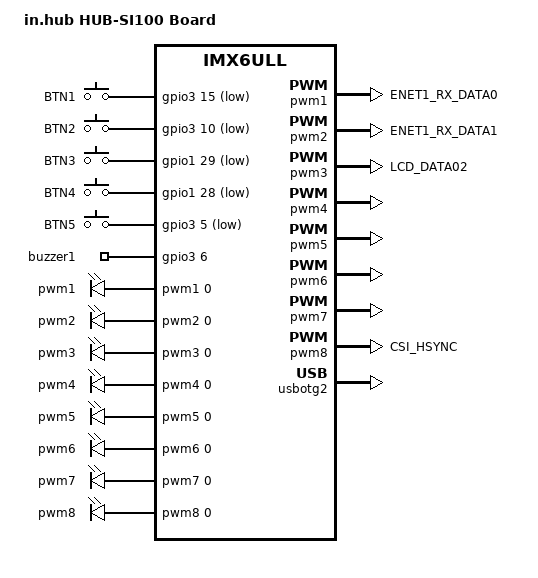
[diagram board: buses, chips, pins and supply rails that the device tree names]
// SPDX-License-Identifier: GPL-2.0-only
/*
 * Copyright 2024 in.hub GmbH
 */

/dts-v1/;

#include "imx6ull-inhub-xx100.dtsi"

/ {
	model = "in.hub HUB-SI100 Board";
	compatible = "inhub,hub-si100", "fsl,imx6ull";

	gpio-keys {
		compatible = "gpio-keys";
		pinctrl-names = "default";
		pinctrl-0 = <&pinctrl_gpio_keys>;

		button-1 {
			label = "BTN1";
			linux,code = <KEY_1>;
			gpios = <&gpio3 15 GPIO_ACTIVE_LOW>;
		};

		button-2 {
			label = "BTN2";
			linux,code = <KEY_2>;
			gpios = <&gpio3 10 GPIO_ACTIVE_LOW>;
		};

		button-3 {
			label = "BTN3";
			linux,code = <KEY_3>;
			gpios = <&gpio1 29 GPIO_ACTIVE_LOW>;
		};

		button-4 {
			label = "BTN4";
			linux,code = <KEY_4>;
			gpios = <&gpio1 28 GPIO_ACTIVE_LOW>;
		};

		button-5 {
			label = "BTN5";
			linux,code = <KEY_5>;
			gpios = <&gpio3 5 GPIO_ACTIVE_LOW>;
		};
	};

	leds {
		compatible = "gpio-leds";
		pinctrl-names = "default";
		pinctrl-0 = <&pinctrl_gpio_buzzers>;

		buzzer1 {
			label = "buzzer1";
			gpios = <&gpio3 6 0x0>;
			default-state = "off";
		};
	};

	pwmleds {
		compatible = "pwm-leds";

		pwm1 {
			label = "pwm1";
			pwms = <&pwm1 0 50000 0>;
			max-brightness = <255>;
		};

		pwm2 {
			label = "pwm2";
			pwms = <&pwm2 0 50000 0>;
			max-brightness = <255>;
		};

		pwm3 {
			label = "pwm3";
			pwms = <&pwm3 0 50000 0>;
			max-brightness = <255>;
		};

		pwm4 {
			label = "pwm4";
			pwms = <&pwm4 0 50000 0>;
			max-brightness = <255>;
		};

		pwm5 {
			label = "pwm5";
			pwms = <&pwm5 0 50000 0>;
			max-brightness = <255>;
		};

		pwm6 {
			label = "pwm6";
			pwms = <&pwm6 0 50000 0>;
			max-brightness = <255>;
		};

		pwm7 {
			label = "pwm7";
			pwms = <&pwm7 0 50000 0>;
			max-brightness = <255>;
		};

		pwm8 {
			label = "pwm8";
			pwms = <&pwm8 0 50000 0>;
			max-brightness = <255>;
		};
	};
};

&iomuxc {
	pinctrl-0 = <&pinctrl_gpio3>;

	pinctrl_pwm1: pwm1-grp {
		fsl,pins = <
			MX6UL_PAD_ENET1_RX_DATA0__PWM1_OUT	0x79
		>;
	};

	pinctrl_pwm2: pwm2-grp {
		fsl,pins = <
			MX6UL_PAD_ENET1_RX_DATA1__PWM2_OUT	0x79
		>;
	};

	pinctrl_pwm3: pwm3-grp {
		fsl,pins = <
			MX6UL_PAD_LCD_DATA02__PWM3_OUT		0x79
		>;
	};

	pinctrl_pwm8: pwm8-grp {
		fsl,pins = <
			MX6UL_PAD_CSI_HSYNC__PWM8_OUT		0x79
		>;
	};

	pinctrl_gpio_buzzers: gpio-buzzers-grp {
		fsl,pins = <
			MX6UL_PAD_LCD_DATA01__GPIO3_IO06	0x70 /* SODIMM 70 - BZ1 */
		>;
	};

	pinctrl_gpio_keys: gpio-keys-grp {
		fsl,pins = <
			MX6UL_PAD_LCD_DATA10__GPIO3_IO15	0xf070 /* SODIMM 74 - BTN1 */
			MX6UL_PAD_LCD_DATA05__GPIO3_IO10	0xf070 /* SODIMM 72 - BTN2 */
			MX6UL_PAD_UART4_RX_DATA__GPIO1_IO29	0xf070 /* SODIMM 194 - BTN3 */
			MX6UL_PAD_UART4_TX_DATA__GPIO1_IO28	0xf070 /* SODIMM 196 - BTN4 */
			MX6UL_PAD_LCD_DATA00__GPIO3_IO05	0xf070 /* SODIMM 76 - BTN5 */
		>;
	};
};

&pwm1 {
	status = "okay";
	pinctrl-names = "default";
	pinctrl-0 = <&pinctrl_pwm1>;
	#pwm-cells = <3>;
};

&pwm2 {
	status = "okay";
	pinctrl-names = "default";
	pinctrl-0 = <&pinctrl_pwm2>;
	#pwm-cells = <3>;
};

&pwm3 {
	status = "okay";
	pinctrl-names = "default";
	pinctrl-0 = <&pinctrl_pwm3>;
	#pwm-cells = <3>;
};

&pwm4 {
	status = "okay";
};

&pwm5 {
	status = "okay";
};

&pwm6 {
	status = "okay";
};

&pwm7 {
	status = "okay";
};

&pwm8 {
	status = "okay";
	pinctrl-names = "default";
	pinctrl-0 = <&pinctrl_pwm8>;
	#pwm-cells = <3>;
};

&usbotg2 {
	status = "okay";
};
